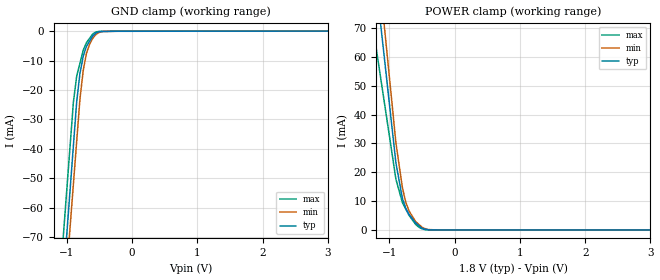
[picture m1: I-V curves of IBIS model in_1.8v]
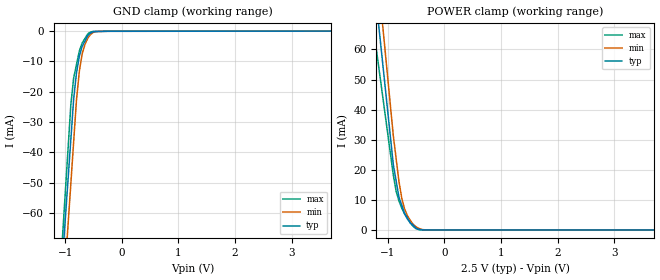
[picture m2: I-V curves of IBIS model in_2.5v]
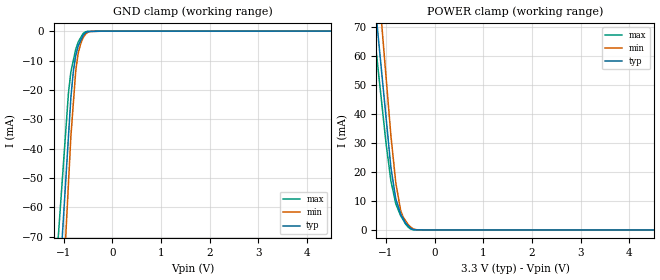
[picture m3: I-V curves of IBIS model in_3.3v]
| Teraspeed (R) Labs.
| http://www.teraspeed.com
[IBIS Ver]   3.2
[Comment Char] |_char
[File Name]   ad9715.ibs
[File Rev]   3.0
[Date]   12-4-2009
[Notes]   Quality Check of this IBIS model: Model Passes IBIS Check
   Model parses into ICX IS. Simulation done with Hyperlynx.
   1. MIN TYP MAX information is based on Temperature and Voltage
   characteristics only.
   2. Package data gained using Tektronix IConnect Software.
[Disclaimer]
| Use: Teraspeed Consulting Group LLC ("Teraspeed") has
| licensed IBIS models to specific integrated circuit
| suppliers ("IC Vendors") for use and distribustion as
| follows: Each IC Vendor may use IBIS Models, and distribute
| them to IC Vendor's custumers to use solely for developing
| printed circute board designs. Users of this model may
| modify the IBIS model to suit its specific applications but
| rights to derivative works and such modifications shell belong
| to Teraspeed. No other distribution of these materials is
| permitted.
| DISCLAIMER OF WARRANTY: UNLESS OTHERWISE AGREED TO IN WRITING
| TERASPEED DISCLAIMS AND USER WAIVES ALL WARRANTIES, EXPRESS
| OR IMPLIED, INCLUDING WARRANTIES OF MERCHANTABILITY AND
| FITNESS FOR A PARTICULAR PURPOSE. IN NO EVENT SHALL
| TERASPEED BE LIABLE FOR ANY DIRECT OR INDIRECT DAMAGES,
| WHETHER IN CONTRACT OR TORT, INCLUDING, WITHOUT LIMITATION,
| LOST PROFITS, BUSINESS INTERRUPTION, OR LOST INFORMATION
| ARISING OUT OF THE USE OF OR THE INABILITY TO USE THE MODEL,
| EVEN IF TERASPEED HAS BEEN ADVISED OF THE POSSIBILITY OF SUCH
| DAMAGES.
[Copyright]
| This file is the legal property of Teraspeed Copyright(c) 2009.
| All other rights are reserved.
[Component]   AD9715
[Manufacturer] Analog Devices
[Package]
| variable   typ   min   max
R_pkg  1.566E-02   1.410E-02   1.720E-02
L_pkg  1.630E-09   1.260E-09   2.000E-09
C_pkg  5.360E-13   4.050E-13   6.670E-13
[Pin] signal_name  model_name  R_pin  L_pin C_pin
1   DB7   input   1.720E-02   2.000E-09   6.670E-13
2   DB6   input   1.640E-02   1.815E-09   6.015E-13
3   DB5   input   1.560E-02   1.630E-09   5.360E-13
4   DB4   input   1.490E-02   1.445E-09   4.705E-13
5   DVDDIO   POWER   1.410E-02   1.260E-09   4.050E-13
6   DVSS   GND   1.410E-02   1.260E-09   4.050E-13
7   DVDD   POWER   1.490E-02   1.445E-09   4.705E-13
8   DB3   input   1.560E-02   1.630E-09   5.360E-13
9   DB2   input   1.640E-02   1.815E-09   6.015E-13
10  DB1   input   1.720E-02   2.000E-09   6.670E-13
11  DB0   input   1.720E-02   2.000E-09   6.670E-13
12  NC   NC   1.640E-02   1.815E-09   6.015E-13
13  NC   NC   1.560E-02   1.630E-09   5.360E-13
14  NC   NC   1.490E-02   1.445E-09   4.705E-13
15  NC   NC   1.410E-02   1.260E-09   4.050E-13
16  DCLKIO   bidir_clk 1.410E-02   1.260E-09   4.050E-13
17  CVDD   POWER   1.490E-02   1.445E-09   4.705E-13
18  CLKIN   input   1.560E-02   1.630E-09   5.360E-13
19  CVSS   GND   1.640E-02   1.815E-09   6.015E-13
20  CMLQ   term   1.720E-02   2.000E-09   6.670E-13
21  RLQN   term   1.800E-02   2.000E-09   6.670E-13
22  QOUTN   term   1.640E-02   1.815E-09   6.015E-13
23  QOUTP   term   1.560E-02   1.630E-09   5.360E-13
24  RLQP   term   1.490E-02   1.445E-09   4.705E-13
25  AVSS   GND   1.410E-02   1.260E-09   4.050E-13
26  AVDD   POWER   1.410E-02   1.260E-09   4.050E-13
27  RLIP   term   1.490E-02   1.445E-09   4.705E-13
28  IOUTP   term   1.560E-02   1.630E-09   5.360E-13
29  IOUTN   term   1.640E-02   1.815E-09   6.015E-13
30  RLIN   term   1.720E-02   2.000E-09   6.670E-13
31  CMLI   term   1.720E-02   2.000E-09   6.670E-13
32  FSADJQ/AUXQ term   1.640E-02   1.815E-09   6.015E-13
33  FSADJI/AUXI term   1.560E-02   1.630E-09   5.360E-13
34  REFIO   POWER   1.490E-02   1.445E-09   4.705E-13
35  RESET/PINMD input   1.410E-02   1.260E-09   4.050E-13
36  SCLK/CLKMD  input   1.410E-02   1.260E-09   4.050E-13
37  SDIO/FORMAT bidir_spi 1.490E-02   1.445E-09   4.705E-13
38  *CS/PWRDN   input   1.560E-02   1.630E-09   5.360E-13
39  DB9   input   1.640E-02   1.815E-09   6.015E-13
40  DB8   input   1.720E-02   2.000E-09   6.670E-13
[Model selector] input
in_1.8v  1.8v input
in_2.5v  2.5v input
in_3.3v  3.3v input
[Model selector] bidir_spi
sdio_1.8v  1.8v sdio
sdio_2.5v  2.5v sdio
sdio_3.3v  3.3v sdio
[Model selector] bidir_clk
dclkio_sgl_1.8v  1.8v single strength dclkio
dclkio_dbl_1.8v  1.8v double strength dclkio
dclkio_sgl_2.5v  2.5v single strength dclkio
dclkio_dbl_2.5v  2.5v double strength dclkio
dclkio_sgl_3.3v  3.3v single strength dclkio
dclkio_dbl_3.3v  3.3v double strength dclkio
[Model] term
Model_type Terminator
C_comp  0.00000pF 0.00000pF 0.00000pF
[Voltage Range] 3.300V  3.100V  3.500V
[Temperature Range]   25   -40   85
| Models and submodels in the file (13): in_1.8v (Input), in_2.5v (Input), in_3.3v (Input), dclkio_sgl_1.8v (I/O), dclkio_dbl_1.8v (I/O), dclkio_sgl_2.5v (I/O), dclkio_dbl_2.5v (I/O), dclkio_sgl_3.3v (I/O), dclkio_dbl_3.3v (I/O), sdio_1.8v (I/O), sdio_2.5v (I/O), sdio_3.3v (I/O), term (Terminator)
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[Model] in_1.8v
Model_type Input
Vinl = 540.000mV
Vinh = 1.26000V
C_comp 616.000fF 593.000fF 627.000fF
| variable typ   min   max
[Voltage Range] 1.80000V 1.70000V 1.90000V
[POWER Clamp Reference] 1.80000V 1.70000V 1.90000V
[GND Clamp Reference] 0.00000V 0.00000V 0.00000V
[Temperature Range]   25   -40   85
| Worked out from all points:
|   GND clamp passes 1 mA (typ) near -0.57 V on its own axis
|   POWER clamp passes 1 mA (typ) near -0.52 V on its own axis
[GND Clamp]
-1.8V     -306.5mA   -312mA     -289.4mA
-900mV    -38.93mA   -52.02mA   -24.1mA
-850mV    -24.07mA   -37.58mA   -15.34mA
-800mV    -14.41mA   -23.14mA   -10.94mA
-750mV    -8.563mA   -13.44mA   -6.537mA
-700mV    -5.146mA   -7.5mA     -3.888mA
-650mV    -3.315mA   -4.359mA   -2.366mA
-600mV    -1.485mA   -2.273mA   -844.7uA
-550mV    -560.1uA   -1.024mA   -230.6uA
-450mV    -130uA     -102.7uA   -35.08uA
3.6V      36.86uA    31.2uA     9.051uA
[POWER Clamp]
-1.8V     208.6mA    235.5mA    153mA
-1V       43.84mA    53.05mA    32.66mA
-900mV    23.25mA    30.24mA    17.62mA
-800mV    10.91mA    14.6mA     9.474mA
-750mV    7.588mA    9.706mA    7.299mA
-700mV    5.421mA    6.645mA    5.125mA
-600mV    2.509mA    2.963mA    2.013mA
-550mV    1.582mA    1.967mA    987.4uA
-500mV    655uA      970uA      403.8uA
-450mV    219uA      424.1uA    94.9uA
-300mV    22.06uA    45.46uA    43.14uA
3.6V      0A         0A         0A
[Model] in_2.5v
Model_type Input
Vinl = 750.000mV
Vinh = 1.75000V
C_comp 616.000fF 593.000fF 627.000fF
| variable typ   min   max
[Voltage Range] 2.50000V 2.37500V 2.62500V
[POWER Clamp Reference] 2.50000V 2.37500V 2.62500V
[GND Clamp Reference] 0.00000V 0.00000V 0.00000V
[Temperature Range]   25   -40   85
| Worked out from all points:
|   GND clamp passes 1 mA (typ) near -0.57 V on its own axis
|   POWER clamp passes 1 mA (typ) near -0.52 V on its own axis
[GND Clamp]
-2.5V     -465.1mA   -494.4mA   -499.5mA
-900mV    -35.9mA    -50.47mA   -24.38mA
-850mV    -22.49mA   -36.6mA    -15.49mA
-800mV    -13.76mA   -22.73mA   -11.04mA
-750mV    -8.316mA   -13.36mA   -6.579mA
-700mV    -5.044mA   -7.501mA   -3.923mA
-650mV    -3.255mA   -4.371mA   -2.393mA
-600mV    -1.466mA   -2.285mA   -863.6uA
-550mV    -553uA     -1.033mA   -238.9uA
-450mV    -127.9uA   -104.7uA   -36.94uA
-225mV    -28.25uA   -22.27uA   -6.414uA
5V        41.66uA    29.47uA    8.395uA
[POWER Clamp]
-2.5V     309mA      344.2mA    241.4mA
-1V       39.68mA    50.84mA    32.21mA
-900mV    21.72mA    31.29mA    18.27mA
-850mV    16.31mA    23.71mA    12.82mA
-800mV    10.89mA    16.13mA    9.655mA
-750mV    8.192mA    10.51mA    7.258mA
-700mV    5.496mA    6.921mA    5.249mA
-650mV    3.966mA    4.742mA    3.627mA
-500mV    622.9uA    1.068mA    445uA
-400mV    39.95uA    189.8uA    35.44uA
-250mV    9.987uA    0A         14.18uA
5V        0A         0A         0A
[Model] in_3.3v
Model_type Input
Vinl = 990.000mV
Vinh = 2.31000V
C_comp 616.000fF 593.000fF 627.000fF
| variable typ   min   max
[Voltage Range] 3.30000V 3.10000V 3.50000V
[POWER Clamp Reference] 3.30000V 3.10000V 3.50000V
[GND Clamp Reference] 0.00000V 0.00000V 0.00000V
[Temperature Range]   25   -40   85
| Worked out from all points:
|   GND clamp passes 1 mA (typ) near -0.57 V on its own axis
|   POWER clamp passes 1 mA (typ) near -0.52 V on its own axis
[GND Clamp]
-3.3V     -680.4mA   -827.9mA   -584.5mA
-900mV    -36.14mA   -52.12mA   -21.19mA
-850mV    -22.72mA   -35.96mA   -13.92mA
-800mV    -13.84mA   -24.75mA   -10.05mA
-750mV    -8.343mA   -13.54mA   -6.183mA
-700mV    -5.056mA   -7.524mA   -3.726mA
-650mV    -3.264mA   -4.387mA   -2.281mA
-600mV    -1.471mA   -2.289mA   -835.5uA
-550mV    -555.8uA   -1.037mA   -234.1uA
-450mV    -124uA     -105.3uA   -36.71uA
-225mV    -5.524uA   -22.99uA   -6.472uA
6.6V      25.72uA    27.44uA    9.648uA
[POWER Clamp]
-3.3V     436.4mA    519.9mA    390.2mA
-1.15V    64.65mA    83.15mA    53.29mA
-1.05V    47.36mA    62.84mA    37.62mA
-1V       38.71mA    52.68mA    29.78mA
-900mV    21.42mA    32.37mA    16.86mA
-800mV    10.71mA    16.24mA    8.998mA
-700mV    5.426mA    6.676mA    4.917mA
-650mV    3.912mA    4.51mA     3.499mA
-500mV    601.6uA    1.064mA    393uA
-400mV    46.7uA     165.4uA    78.93uA
-250mV    11.68uA    0A         35.88uA
6.6V      0A         0A         0A
